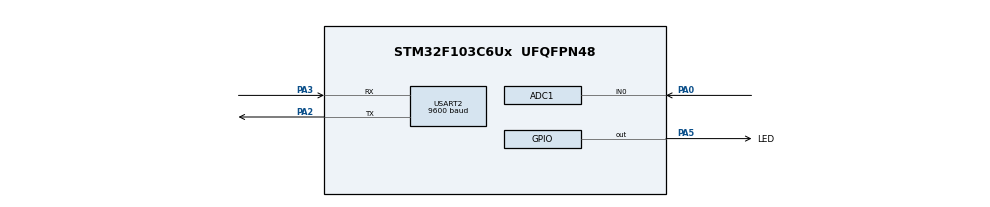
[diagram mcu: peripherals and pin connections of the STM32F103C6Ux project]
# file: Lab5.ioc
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ADC1.Channel-0\#ChannelRegularConversion=ADC_CHANNEL_0
ADC1.ContinuousConvMode=ENABLE
ADC1.NbrOfConversionFlag=1
ADC1.Rank-0\#ChannelRegularConversion=1
ADC1.SamplingTime-0\#ChannelRegularConversion=ADC_SAMPLETIME_1CYCLE_5
ADC1.master=1
Mcu.Family=STM32F1
Mcu.Name=STM32F103C6Ux
Mcu.Package=UFQFPN48
NVIC.PriorityGroup=NVIC_PRIORITYGROUP_4
NVIC.TIM2_IRQn=true\:0\:0\:false\:false\:true\:true\:true
NVIC.USART2_IRQn=true\:0\:0\:false\:false\:true\:true\:true
PA0-WKUP.Signal=ADCx_IN0
PA2.Mode=Asynchronous
PA2.Signal=USART2_TX
PA3.Mode=Asynchronous
PA3.Signal=USART2_RX
PA5.GPIO_Label=LED
PA5.Signal=GPIO_Output
ProjectManager.HeapSize=0x200
ProjectManager.StackSize=0x400
ProjectManager.TargetToolchain=STM32CubeIDE
RCC.APB1Freq_Value=8000000
RCC.APB2Freq_Value=8000000
SH.ADCx_IN0.0=ADC1_IN0,IN0
TIM2.Period=9
TIM2.Prescaler=7999
USART2.BaudRate=9600
USART2.VirtualMode=VM_ASYNC
VP_SYS_VS_ND.Mode=No_Debug
VP_TIM2_VS_ClockSourceINT.Mode=Internal
board=custom

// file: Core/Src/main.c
/* USER CODE BEGIN Header */
/**
  ******************************************************************************
  * @file           : main.c
  * @brief          : Main program body
  ******************************************************************************
  * @attention
  *
  * <h2><center>&copy; Copyright (c) 2024 STMicroelectronics.
  * All rights reserved.</center></h2>
  *
  * This software component is licensed by ST under BSD 3-Clause license,
  * the "License"; You may not use this file except in compliance with the
  * License. You may obtain a copy of the License at:
  *                        opensource.org/licenses/BSD-3-Clause
  *
  ******************************************************************************
  */
/* USER CODE END Header */
#include "main.h"

/* USER CODE BEGIN Includes */
#include <software_timer.h>
#include <string.h>
#include <stdio.h>
/* USER CODE END Includes */

ADC_HandleTypeDef hadc1;

TIM_HandleTypeDef htim2;

UART_HandleTypeDef huart2;

void SystemClock_Config(void);
static void MX_GPIO_Init(void);
static void MX_ADC1_Init(void);
static void MX_USART2_UART_Init(void);
static void MX_TIM2_Init(void);

/* USER CODE BEGIN 0 */
#define MAX_BUFFER_SIZE 30
#define MAX_HISTORY_STATE 30

#define CMD_NONE 0
#define CMD_RST 1
#define CMD_OK 2

#define UART_INIT 0
#define WAITING 1

#define CMD_INIT 0
#define FIRST_CHAR 1
#define S_CHAR 2
#define T_CHAR 3
#define K_CHAR 4
#define END_RST 5
#define END_OK 6

uint8_t temp = 0;
uint8_t buffer[MAX_BUFFER_SIZE];
uint8_t index_buffer = 0;
uint8_t buffer_flag = 0;

uint8_t prev[MAX_HISTORY_STATE];
uint8_t history_count = 0;

uint8_t cmd_flag = 0;
uint8_t cmd_data = 0;

uint32_t ADC_value = 0;
uint8_t state = CMD_INIT;
uint8_t uart_state = UART_INIT;

void HAL_UART_RxCpltCallback( UART_HandleTypeDef * huart){
	if(huart->Instance == USART2){
		HAL_UART_Transmit(&huart2, &temp, 1, 100);
		buffer[index_buffer++] = temp;
		if(index_buffer >= MAX_BUFFER_SIZE) index_buffer = 0;
		buffer_flag = 1;
		HAL_UART_Receive_IT(&huart2 , &temp , 1);
	}
}

void command_parser_fsm(){
    if(buffer[index_buffer - 1] == '\b'){
    	history_count--;
        state = prev[history_count - 1];
        if(index_buffer > 0) index_buffer--;
        return;
    }

        switch(state){
            case CMD_INIT:
                if(buffer[index_buffer - 1] == '!') state = FIRST_CHAR;
                prev[history_count++] = state;
                break;

            case FIRST_CHAR:
                if(buffer[index_buffer - 1] == 'R') state = S_CHAR;
                else if(buffer[index_buffer - 1] == 'O') state = K_CHAR;
                else state = CMD_INIT;
                prev[history_count++] = state;
                break;

            case S_CHAR:
                if(buffer[index_buffer - 1] == 'S') state = T_CHAR;
                else state = CMD_INIT;
                prev[history_count++] = state;
                break;

            case T_CHAR:
                if(buffer[index_buffer - 1] == 'T') state = END_RST;
                else state = CMD_INIT;
                prev[history_count++] = state;
                break;

            case K_CHAR:
                if(buffer[index_buffer - 1] == 'K') state = END_OK;
                else state = CMD_INIT;
                prev[history_count++] = state;
                break;

            case END_RST:
                if(buffer[index_buffer - 1] == '#'){
                	cmd_flag = 1;
                    cmd_data = CMD_RST;
                    history_count = 0;
                }
                prev[history_count++] = state;
                state = CMD_INIT;
                break;

            case END_OK:
                if(buffer[index_buffer - 1] == '#'){
                	cmd_flag = 1;
                    cmd_data = CMD_OK;
                    history_count = 0;
                }
                prev[history_count++] = state;
                state = CMD_INIT;
                break;
            default:
                break;
        }
}

void uart_communication_fsm(){
	char str[50];
    switch(uart_state){
        case UART_INIT:
            if(cmd_flag == 1 && cmd_data == CMD_RST){
                ADC_value = HAL_ADC_GetValue(&hadc1);
                sprintf(str, "\r\n!ADC=%lu#\r\n", ADC_value);
                HAL_UART_Transmit(&huart2, (uint8_t*)str, strlen(str), 1000);
                setTimer(0, 3000);
                HAL_GPIO_TogglePin(LED_GPIO_Port, LED_Pin);
                uart_state = WAITING;
                cmd_flag = 0;
            }
            break;

        case WAITING:
            if(cmd_flag == 1 && cmd_data == CMD_OK){
                uart_state = UART_INIT;
                cmd_flag = 0;
                sprintf(str, "\r\n !!!!!END COMMUNICATION!!!!! \r\n");
                HAL_UART_Transmit(&huart2, (uint8_t*)str, strlen(str), 1000);
                HAL_GPIO_TogglePin(LED_GPIO_Port, LED_Pin);
            }else if(isTimerExpired(0)){
                sprintf(str, "!ADC=%lu#\r\n", ADC_value);
                HAL_UART_Transmit(&huart2, (uint8_t*)str, strlen(str), 1000);
                setTimer(0, 3000);
                HAL_GPIO_TogglePin(LED_GPIO_Port, LED_Pin);
//                state = CMD_INIT;
            }
            break;
        default:
            break;
    }
}

/* USER CODE END 0 */

int main(void)
{

  /* MCU Configuration--------------------------------------------------------*/

  /* Reset of all peripherals, Initializes the Flash interface and the Systick. */
  HAL_Init();

  /* Configure the system clock */
  SystemClock_Config();

  /* Initialize all configured peripherals */
  MX_GPIO_Init();
  MX_ADC1_Init();
  MX_USART2_UART_Init();
  MX_TIM2_Init();
  /* USER CODE BEGIN 2 */
  HAL_TIM_Base_Start_IT(&htim2);
  HAL_UART_Receive_IT(&huart2 , &temp , 1);
  HAL_ADC_Start(&hadc1);
  /* USER CODE END 2 */

  /* Infinite loop */
  /* USER CODE BEGIN WHILE */
  setTimer(0, 10);
  while (1)
  {
    /* USER CODE END WHILE */
	  if(buffer_flag == 1){
		  command_parser_fsm();
		  buffer_flag = 0;
	  }
	  uart_communication_fsm();

  }
}

void SystemClock_Config(void)
{
  RCC_OscInitTypeDef RCC_OscInitStruct = {0};
  RCC_ClkInitTypeDef RCC_ClkInitStruct = {0};
  RCC_PeriphCLKInitTypeDef PeriphClkInit = {0};

  /** Initializes the RCC Oscillators according to the specified parameters
  * in the RCC_OscInitTypeDef structure.
  */
  RCC_OscInitStruct.OscillatorType = RCC_OSCILLATORTYPE_HSI;
  RCC_OscInitStruct.HSIState = RCC_HSI_ON;
  RCC_OscInitStruct.HSICalibrationValue = RCC_HSICALIBRATION_DEFAULT;
  RCC_OscInitStruct.PLL.PLLState = RCC_PLL_NONE;
  if (HAL_RCC_OscConfig(&RCC_OscInitStruct) != HAL_OK)
  {
    Error_Handler();
  }
  /** Initializes the CPU, AHB and APB buses clocks
  */
  RCC_ClkInitStruct.ClockType = RCC_CLOCKTYPE_HCLK|RCC_CLOCKTYPE_SYSCLK
                              |RCC_CLOCKTYPE_PCLK1|RCC_CLOCKTYPE_PCLK2;
  RCC_ClkInitStruct.SYSCLKSource = RCC_SYSCLKSOURCE_HSI;
  RCC_ClkInitStruct.AHBCLKDivider = RCC_SYSCLK_DIV1;
  RCC_ClkInitStruct.APB1CLKDivider = RCC_HCLK_DIV1;
  RCC_ClkInitStruct.APB2CLKDivider = RCC_HCLK_DIV1;

  if (HAL_RCC_ClockConfig(&RCC_ClkInitStruct, FLASH_LATENCY_0) != HAL_OK)
  {
    Error_Handler();
  }
  PeriphClkInit.PeriphClockSelection = RCC_PERIPHCLK_ADC;
  PeriphClkInit.AdcClockSelection = RCC_ADCPCLK2_DIV2;
  if (HAL_RCCEx_PeriphCLKConfig(&PeriphClkInit) != HAL_OK)
  {
    Error_Handler();
  }
}

static void MX_ADC1_Init(void)
{

  ADC_ChannelConfTypeDef sConfig = {0};

  /** Common config
  */
  hadc1.Instance = ADC1;
  hadc1.Init.ScanConvMode = ADC_SCAN_DISABLE;
  hadc1.Init.ContinuousConvMode = ENABLE;
  hadc1.Init.DiscontinuousConvMode = DISABLE;
  hadc1.Init.ExternalTrigConv = ADC_SOFTWARE_START;
  hadc1.Init.DataAlign = ADC_DATAALIGN_RIGHT;
  hadc1.Init.NbrOfConversion = 1;
  if (HAL_ADC_Init(&hadc1) != HAL_OK)
  {
    Error_Handler();
  }
  /** Configure Regular Channel
  */
  sConfig.Channel = ADC_CHANNEL_0;
  sConfig.Rank = ADC_REGULAR_RANK_1;
  sConfig.SamplingTime = ADC_SAMPLETIME_1CYCLE_5;
  if (HAL_ADC_ConfigChannel(&hadc1, &sConfig) != HAL_OK)
  {
    Error_Handler();
  }

}

static void MX_TIM2_Init(void)
{

  TIM_ClockConfigTypeDef sClockSourceConfig = {0};
  TIM_MasterConfigTypeDef sMasterConfig = {0};

  htim2.Instance = TIM2;
  htim2.Init.Prescaler = 7999;
  htim2.Init.CounterMode = TIM_COUNTERMODE_UP;
  htim2.Init.Period = 9;
  htim2.Init.ClockDivision = TIM_CLOCKDIVISION_DIV1;
  htim2.Init.AutoReloadPreload = TIM_AUTORELOAD_PRELOAD_DISABLE;
  if (HAL_TIM_Base_Init(&htim2) != HAL_OK)
  {
    Error_Handler();
  }
  sClockSourceConfig.ClockSource = TIM_CLOCKSOURCE_INTERNAL;
  if (HAL_TIM_ConfigClockSource(&htim2, &sClockSourceConfig) != HAL_OK)
  {
    Error_Handler();
  }
  sMasterConfig.MasterOutputTrigger = TIM_TRGO_RESET;
  sMasterConfig.MasterSlaveMode = TIM_MASTERSLAVEMODE_DISABLE;
  if (HAL_TIMEx_MasterConfigSynchronization(&htim2, &sMasterConfig) != HAL_OK)
  {
    Error_Handler();
  }

}

static void MX_USART2_UART_Init(void)
{

  huart2.Instance = USART2;
  huart2.Init.BaudRate = 9600;
  huart2.Init.WordLength = UART_WORDLENGTH_8B;
  huart2.Init.StopBits = UART_STOPBITS_1;
  huart2.Init.Parity = UART_PARITY_NONE;
  huart2.Init.Mode = UART_MODE_TX_RX;
  huart2.Init.HwFlowCtl = UART_HWCONTROL_NONE;
  huart2.Init.OverSampling = UART_OVERSAMPLING_16;
  if (HAL_UART_Init(&huart2) != HAL_OK)
  {
    Error_Handler();
  }

}

static void MX_GPIO_Init(void)
{
  GPIO_InitTypeDef GPIO_InitStruct = {0};

  /* GPIO Ports Clock Enable */
  __HAL_RCC_GPIOA_CLK_ENABLE();

  /*Configure GPIO pin Output Level */
  HAL_GPIO_WritePin(LED_GPIO_Port, LED_Pin, GPIO_PIN_RESET);

  /*Configure GPIO pin : LED_Pin */
  GPIO_InitStruct.Pin = LED_Pin;
  GPIO_InitStruct.Mode = GPIO_MODE_OUTPUT_PP;
  GPIO_InitStruct.Pull = GPIO_NOPULL;
  GPIO_InitStruct.Speed = GPIO_SPEED_FREQ_LOW;
  HAL_GPIO_Init(LED_GPIO_Port, &GPIO_InitStruct);

}

/* USER CODE BEGIN 4 */
void HAL_TIM_PeriodElapsedCallback(TIM_HandleTypeDef * htim){
	timerRun();
}
/* USER CODE END 4 */

void Error_Handler(void)
{
  __disable_irq();
  while (1)
  {
  }
}

/************************ (C) COPYRIGHT STMicroelectronics *****END OF FILE****/
